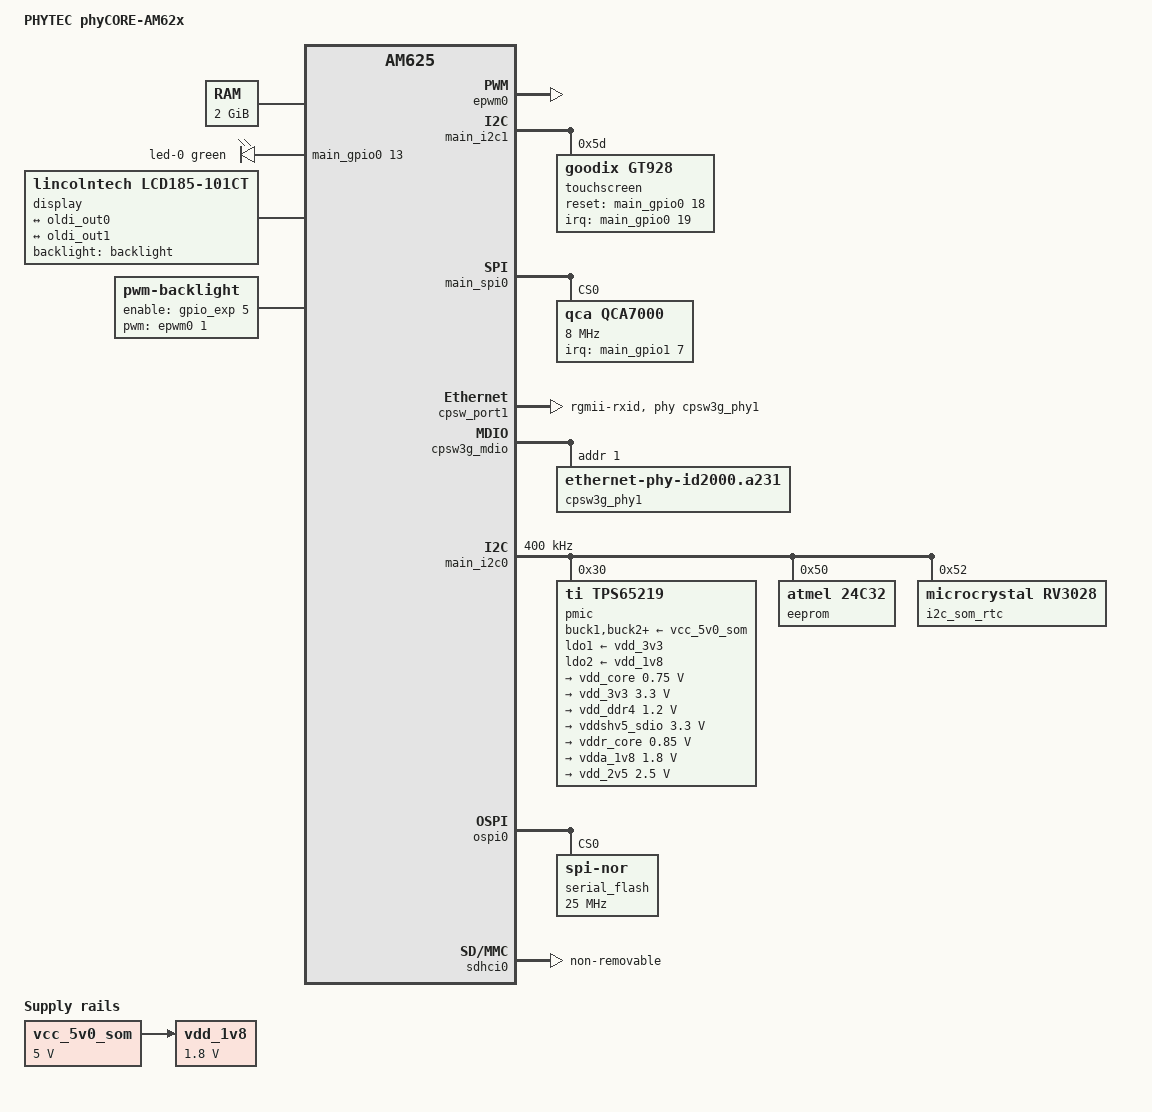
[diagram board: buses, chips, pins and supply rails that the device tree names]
// SPDX-License-Identifier: GPL-2.0
/*
 * Copyright (C) 2022 - 2023 PHYTEC Messtechnik GmbH
 * Author: Wadim Egorov <w.egorov@phytec.de>
 *
 * Product homepage:
 * https://www.phytec.com/product/phycore-am62x
 */

#include <dt-bindings/gpio/gpio.h>
#include <dt-bindings/leds/common.h>
#include <dt-bindings/net/ti-dp83867.h>

/ {
	model = "PHYTEC phyCORE-AM62x";
	compatible = "phytec,am62-phycore-som", "ti,am625";

	aliases {
		ethernet0 = &cpsw_port1;
		gpio0 = &main_gpio0;
		gpio1 = &main_gpio1;
		i2c0 = &main_i2c0;
		mmc0 = &sdhci0;
		rtc0 = &i2c_som_rtc;
		rtc1 = &wkup_rtc0;
		spi0 = &ospi0;
	};

	memory@80000000 {
		device_type = "memory";
		reg = <0x00000000 0x80000000 0x00000000 0x80000000>;
	};

	reserved_memory: reserved-memory {
		#address-cells = <2>;
		#size-cells = <2>;
		ranges;

		ramoops@9c700000 {
			compatible = "ramoops";
			reg = <0x00 0x9c700000 0x00 0x00100000>;
			record-size = <0x8000>;
			console-size = <0x8000>;
			ftrace-size = <0x00>;
			pmsg-size = <0x8000>;
		};

		/* global cma region */
		linux,cma {
			compatible = "shared-dma-pool";
			reusable;
			size = <0x00 0x8000000>;
			linux,cma-default;
		};

		rtos_ipc_memory_region: ipc-memories@9c800000 {
			compatible = "shared-dma-pool";
			reg = <0x00 0x9c800000 0x00 0x00300000>;
			no-map;
		};

		mcu_m4fss_dma_memory_region: m4f-dma-memory@9cb00000 {
			compatible = "shared-dma-pool";
			reg = <0x00 0x9cb00000 0x00 0x100000>;
			no-map;
		};

		mcu_m4fss_memory_region: m4f-memory@9cc00000 {
			compatible = "shared-dma-pool";
			reg = <0x00 0x9cc00000 0x00 0xe00000>;
			no-map;
		};

		wkup_r5fss0_core0_dma_memory_region: r5f-dma-memory@9da00000 {
			compatible = "shared-dma-pool";
			reg = <0x00 0x9da00000 0x00 0x00100000>;
			no-map;
		};

		wkup_r5fss0_core0_memory_region: r5f-memory@9db00000 {
			compatible = "shared-dma-pool";
			reg = <0x00 0x9db00000 0x00 0x00c00000>;
			no-map;
		};

		secure_tfa_ddr: tfa@9e780000 {
			reg = <0x00 0x9e780000 0x00 0x80000>;
			alignment = <0x1000>;
			no-map;
		};

		secure_ddr: optee@9e800000 {
			reg = <0x00 0x9e800000 0x00 0x01800000>; /* for OP-TEE */
			alignment = <0x1000>;
			no-map;
		};
	};

	vcc_5v0_som: regulator-vcc-5v0-som {
		compatible = "regulator-fixed";
		regulator-name = "VCC_5V0_SOM";
		regulator-min-microvolt = <5000000>;
		regulator-max-microvolt = <5000000>;
		regulator-always-on;
		regulator-boot-on;
	};

	vdd_1v8: regulator-vdd-1v8 {
		compatible = "regulator-fixed";
		regulator-name = "VDD_1V8";
		regulator-min-microvolt = <1800000>;
		regulator-max-microvolt = <1800000>;
		vin-supply = <&vcc_5v0_som>;
		regulator-always-on;
		regulator-boot-on;
	};

	leds {
		compatible = "gpio-leds";
		pinctrl-names = "default";
		pinctrl-0 = <&leds_pins_default>;

		led-0 {
			color = <LED_COLOR_ID_GREEN>;
			gpios = <&main_gpio0 13 GPIO_ACTIVE_HIGH>;
			linux,default-trigger = "heartbeat";
			function = LED_FUNCTION_HEARTBEAT;
		};
	};

	display {
		compatible = "lincolntech,lcd185-101ct";
		backlight = <&backlight>;

		port@0 {
			dual-lvds-odd-pixels;
			lcd_in0: endpoint {
				remote-endpoint = <&oldi_out0>;
			};
		};

		port@1 {
			dual-lvds-even-pixels;
			lcd_in1: endpoint {
				remote-endpoint = <&oldi_out1>;
			};
		};
	};

	backlight: backlight {
		pinctrl-names = "default";
		pinctrl-0 = <&bl_pwm_pins_default>;

		compatible = "pwm-backlight";

		brightness-levels = <0 4 8 16 32 64 128 255>;
		default-brightness-level = <6>;

		enable-gpios = <&gpio_exp 5 GPIO_ACTIVE_HIGH>;
		pwms = <&epwm0 1 50000 0>;
	};	
};

&main_pmx0 {

	bl_pwm_pins_default: bl-pwm-pins-default {
		pinctrl-single,pins = <
			AM62X_IOPAD(0x01b8, PIN_INPUT, 2) /* (C13) SPI0_CS1.EHRPWM0_B */
		>;
	};

	touch_screen_pins_default: touch-screen-pins-default {
		pinctrl-single,pins = <
			AM62X_IOPAD(0x048, PIN_OUTPUT, 7) /* (N25) GPMC0_AD3.GPIO0_18 - RST */
			AM62X_IOPAD(0x04c, PIN_INPUT, 7) /* (P24) GPMC0_AD4.GPIO0_19 - INT */
		>;
	};

	main_oldi0_pins_default: main-oldi0-pins-default {
		pinctrl-single,pins = <
			AM62X_IOPAD(0x0260, PIN_OUTPUT, 0) /* (AA5) OLDI0_A0N */
			AM62X_IOPAD(0x025c, PIN_OUTPUT, 0) /* (Y6) OLDI0_A0P */
			AM62X_IOPAD(0x0268, PIN_OUTPUT, 0) /* (AD3) OLDI0_A1N */
			AM62X_IOPAD(0x0264, PIN_OUTPUT, 0) /* (AB4) OLDI0_A1P */
			AM62X_IOPAD(0x0270, PIN_OUTPUT, 0) /* (Y8) OLDI0_A2N */
			AM62X_IOPAD(0x026c, PIN_OUTPUT, 0) /* (AA8) OLDI0_A2P */
			AM62X_IOPAD(0x0278, PIN_OUTPUT, 0) /* (AB6) OLDI0_A3N */
			AM62X_IOPAD(0x0274, PIN_OUTPUT, 0) /* (AA7) OLDI0_A3P */
			AM62X_IOPAD(0x0280, PIN_OUTPUT, 0) /* (AC6) OLDI0_A4N */
			AM62X_IOPAD(0x027c, PIN_OUTPUT, 0) /* (AC5) OLDI0_A4P */
			AM62X_IOPAD(0x0288, PIN_OUTPUT, 0) /* (AE5) OLDI0_A5N */
			AM62X_IOPAD(0x0284, PIN_OUTPUT, 0) /* (AD6) OLDI0_A5P */
			AM62X_IOPAD(0x0290, PIN_OUTPUT, 0) /* (AE6) OLDI0_A6N */
			AM62X_IOPAD(0x028c, PIN_OUTPUT, 0) /* (AD7) OLDI0_A6P */
			AM62X_IOPAD(0x0298, PIN_OUTPUT, 0) /* (AD8) OLDI0_A7N */
			AM62X_IOPAD(0x0294, PIN_OUTPUT, 0) /* (AE7) OLDI0_A7P */
			AM62X_IOPAD(0x02a0, PIN_OUTPUT, 0) /* (AD4) OLDI0_CLK0N */
			AM62X_IOPAD(0x029c, PIN_OUTPUT, 0) /* (AE3) OLDI0_CLK0P */
			AM62X_IOPAD(0x02a8, PIN_OUTPUT, 0) /* (AE4) OLDI0_CLK1N */
			AM62X_IOPAD(0x02a4, PIN_OUTPUT, 0) /* (AD5) OLDI0_CLK1P */
		>;
	};

	leds_pins_default: leds-pins-default {
		pinctrl-single,pins = <
			AM62X_IOPAD(0x034, PIN_OUTPUT, 7) /* (H21) OSPI0_CSN2.GPIO0_13 */
		>;
	};

	main_i2c0_pins_default: main-i2c0-pins-default {
		pinctrl-single,pins = <
			AM62X_IOPAD(0x1e0, PIN_INPUT_PULLUP, 0) /* (B16) I2C0_SCL */
			AM62X_IOPAD(0x1e4, PIN_INPUT_PULLUP, 0) /* (A16) I2C0_SDA */
		>;
	};

	main_mdio1_pins_default: main-mdio1-pins-default {
		pinctrl-single,pins = <
			AM62X_IOPAD(0x160, PIN_OUTPUT, 0) /* (AD24) MDIO0_MDC */
			AM62X_IOPAD(0x15c, PIN_INPUT, 0) /* (AB22) MDIO0_MDIO */
		>;
	};

	main_mmc0_pins_default: main-mmc0-pins-default {
		pinctrl-single,pins = <
			AM62X_IOPAD(0x220, PIN_INPUT_PULLUP, 0) /* (Y3) MMC0_CMD */
			AM62X_IOPAD(0x218, PIN_INPUT_PULLDOWN, 0) /* (AB1) MMC0_CLK */
			AM62X_IOPAD(0x214, PIN_INPUT_PULLUP, 0) /* (AA2) MMC0_DAT0 */
			AM62X_IOPAD(0x210, PIN_INPUT_PULLUP, 0) /* (AA1) MMC0_DAT1 */
			AM62X_IOPAD(0x20c, PIN_INPUT_PULLUP, 0) /* (AA3) MMC0_DAT2 */
			AM62X_IOPAD(0x208, PIN_INPUT_PULLUP, 0) /* (Y4) MMC0_DAT3 */
			AM62X_IOPAD(0x204, PIN_INPUT_PULLUP, 0) /* (AB2) MMC0_DAT4 */
			AM62X_IOPAD(0x200, PIN_INPUT_PULLUP, 0) /* (AC1) MMC0_DAT5 */
			AM62X_IOPAD(0x1fc, PIN_INPUT_PULLUP, 0) /* (AD2) MMC0_DAT6 */
			AM62X_IOPAD(0x1f8, PIN_INPUT_PULLUP, 0) /* (AC2) MMC0_DAT7 */
		>;
	};

	main_rgmii1_pins_default: main-rgmii1-pins-default {
		pinctrl-single,pins = <
			AM62X_IOPAD(0x14c, PIN_INPUT, 0) /* (AB17) RGMII1_RD0 */
			AM62X_IOPAD(0x150, PIN_INPUT, 0) /* (AC17) RGMII1_RD1 */
			AM62X_IOPAD(0x154, PIN_INPUT, 0) /* (AB16) RGMII1_RD2 */
			AM62X_IOPAD(0x158, PIN_INPUT, 0) /* (AA15) RGMII1_RD3 */
			AM62X_IOPAD(0x148, PIN_INPUT, 0) /* (AD17) RGMII1_RXC */
			AM62X_IOPAD(0x144, PIN_INPUT, 0) /* (AE17) RGMII1_RX_CTL */
			AM62X_IOPAD(0x134, PIN_OUTPUT, 0) /* (AE20) RGMII1_TD0 */
			AM62X_IOPAD(0x138, PIN_OUTPUT, 0) /* (AD20) RGMII1_TD1 */
			AM62X_IOPAD(0x13c, PIN_OUTPUT, 0) /* (AE18) RGMII1_TD2 */
			AM62X_IOPAD(0x140, PIN_OUTPUT, 0) /* (AD18) RGMII1_TD3 */
			AM62X_IOPAD(0x130, PIN_OUTPUT, 0) /* (AE19) RGMII1_TXC */
			AM62X_IOPAD(0x12c, PIN_OUTPUT, 0) /* (AD19) RGMII1_TX_CTL */
		>;
	};

	ospi0_pins_default: ospi0-pins-default {
		pinctrl-single,pins = <
			AM62X_IOPAD(0x000, PIN_OUTPUT, 0) /* (H24) OSPI0_CLK */
			AM62X_IOPAD(0x02c, PIN_OUTPUT, 0) /* (F23) OSPI0_CSn0 */
			AM62X_IOPAD(0x038, PIN_OUTPUT, 0) /* (E24) OSPI0_CSn3 */
			AM62X_IOPAD(0x00c, PIN_INPUT, 0) /* (E25) OSPI0_D0 */
			AM62X_IOPAD(0x010, PIN_INPUT, 0) /* (G24) OSPI0_D1 */
			AM62X_IOPAD(0x014, PIN_INPUT, 0) /* (F25) OSPI0_D2 */
			AM62X_IOPAD(0x018, PIN_INPUT, 0) /* (F24) OSPI0_D3 */
			AM62X_IOPAD(0x01c, PIN_INPUT, 0) /* (J23) OSPI0_D4 */
			AM62X_IOPAD(0x020, PIN_INPUT, 0) /* (J25) OSPI0_D5 */
			AM62X_IOPAD(0x024, PIN_INPUT, 0) /* (H25) OSPI0_D6 */
			AM62X_IOPAD(0x028, PIN_INPUT, 0) /* (J22) OSPI0_D7 */
			AM62X_IOPAD(0x008, PIN_INPUT, 0) /* (J24) OSPI0_DQS */
		>;
	};

	main_spi0_pins_default: main_spi0_pins_default {
		pinctrl-single,pins = <
			AM62X_IOPAD(0x1BC, PIN_INPUT, 0) /* (A14) SPI0_CLK */
			AM62X_IOPAD(0x1B4, PIN_OUTPUT, 0) /* (A13) SPI0_CS0 */
			AM62X_IOPAD(0x1C0, PIN_OUTPUT, 0) /* (B13) SPI0_D0 */
			AM62X_IOPAD(0x1C4, PIN_INPUT, 0)  /* (B14) SPI0_D1 */
			AM62X_IOPAD(0x194, PIN_INPUT, 7)  /* (B19) MCASP0_AXR3 */
		>;
	};

	pmic_irq_pins_default: pmic-irq-pins-default {
		pinctrl-single,pins = <
			AM62X_IOPAD(0x01f4, PIN_INPUT, 0) /* (D16) EXTINTn */
		>;
	};
};

&epwm0 {
	status = "okay";
};

&dss {
	pinctrl-names = "default";
	pinctrl-0 = <&main_oldi0_pins_default &main_dss0_pins_default>;
};

&dss_ports {
	#address-cells = <1>;
	#size-cells = <0>;

	/* VP1: LVDS Output */
	port@0 {
		reg = <0>;

		oldi_out0: endpoint {
			remote-endpoint = <&lcd_in0>;
		};
	};

	/* VP1: LVDS Output */
	port@2 {
		reg = <2>;

		oldi_out1: endpoint {
			remote-endpoint = <&lcd_in1>;
		};
	};
};

&main_i2c1 {
	#address-cells = <1>;
	#size-cells = <0>;

	touchscreen@5d {
		compatible = "goodix,gt928";
		reg = <0x5d>;

		pinctrl-names = "default";
		pinctrl-0 = <&touch_screen_pins_default>;

		interrupt-parent = <&main_gpio0>;
		interrupts = <19 IRQ_TYPE_LEVEL_LOW>;

		reset-gpios = <&main_gpio0 18 GPIO_ACTIVE_HIGH>;
		irq-gpios = <&main_gpio0 19 GPIO_ACTIVE_HIGH>;
	};
};

&mcu_pmx0 {
	wkup_uart0_pins_default: wkup-uart0-pins-default {
		pinctrl-single,pins = <
			AM62X_MCU_IOPAD(0x02c, PIN_INPUT, 0) /* (C6) WKUP_UART0_CTSn */
			AM62X_MCU_IOPAD(0x030, PIN_OUTPUT, 0) /* (A4) WKUP_UART0_RTSn */
			AM62X_MCU_IOPAD(0x024, PIN_INPUT, 0) /* (B4) WKUP_UART0_RXD */
			AM62X_MCU_IOPAD(0x028, PIN_OUTPUT, 0) /* (C5) WKUP_UART0_TXD */
		>;
	};
};

&mcu_spi0 {
	status = "disabled";
};


&main_spi0 {
	#address-cells = <1>;
	#size-cells = <0>;
	status = "okay";
	pinctrl-names = "default";
	pinctrl-0 = <&main_spi0_pins_default>;
	ti,pindir-d0-out-d1-in = <1>;

	qca7000: ethernet@1 {
		compatible = "qca,qca7000";
		reg = <0x0>; // chip select wired to CS0
		// interrupt should be GPIO1_7 (MCASP0_AXR3)
		interrupt-parent = <&main_gpio1>;
		interrupts = <7 0x1>; // index 7, rising edge
		spi-cpha;
		spi-cpol;
		spi-max-frequency = <8000000>;
		local-mac-address = [ A0 B0 C0 D0 E0 F0 ];
	};
};


&cpsw3g {
	pinctrl-names = "default";
	pinctrl-0 = <&main_rgmii1_pins_default>;
};

&cpsw_port1 {
	phy-mode = "rgmii-rxid";
	phy-handle = <&cpsw3g_phy1>;
};

&cpsw3g_mdio {
	pinctrl-names = "default";
	pinctrl-0 = <&main_mdio1_pins_default>;
	status = "okay";

	cpsw3g_phy1: ethernet-phy@1 {
		compatible = "ethernet-phy-id2000.a231", "ethernet-phy-ieee802.3-c22";
		reg = <1>;
		ti,clk-output-sel = <DP83867_CLK_O_SEL_OFF>;
		ti,rx-internal-delay = <DP83867_RGMIIDCTL_2_00_NS>;
		ti,fifo-depth = <DP83867_PHYCR_FIFO_DEPTH_4_B_NIB>;
	};
};

&mailbox0_cluster0 {
	mbox_m4_0: mbox-m4-0 {
		ti,mbox-rx = <0 0 0>;
		ti,mbox-tx = <1 0 0>;
	};
};

&main_i2c0 {
	pinctrl-names = "default";
	pinctrl-0 = <&main_i2c0_pins_default>;
	clock-frequency = <400000>;
	status = "okay";

	pmic@30 {
		compatible = "ti,tps65219";
		reg = <0x30>;
		buck1-supply = <&vcc_5v0_som>;
		buck2-supply = <&vcc_5v0_som>;
		buck3-supply = <&vcc_5v0_som>;
		ldo1-supply = <&vdd_3v3>;
		ldo2-supply = <&vdd_1v8>;
		ldo3-supply = <&vcc_5v0_som>;
		ldo4-supply = <&vcc_5v0_som>;

		pinctrl-names = "default";
		pinctrl-0 = <&pmic_irq_pins_default>;
		interrupt-parent = <&gic500>;
		interrupts = <GIC_SPI 224 IRQ_TYPE_LEVEL_HIGH>;
		interrupt-controller;
		#interrupt-cells = <1>;
		ti,power-button;
		system-power-controller;

		regulators {
			vdd_core: buck1 {
				regulator-name = "VDD_CORE";
				regulator-min-microvolt = <750000>;
				regulator-max-microvolt = <750000>;
				regulator-boot-on;
				regulator-always-on;
			};

			vdd_3v3: buck2 {
				regulator-name = "VDD_3V3";
				regulator-min-microvolt = <3300000>;
				regulator-max-microvolt = <3300000>;
				regulator-boot-on;
				regulator-always-on;
			};

			vdd_ddr4: buck3 {
				regulator-name = "VDD_DDR4";
				regulator-min-microvolt = <1200000>;
				regulator-max-microvolt = <1200000>;
				regulator-boot-on;
				regulator-always-on;
			};

			vddshv5_sdio: ldo1 {
				regulator-name = "VDDSHV5_SDIO";
				regulator-min-microvolt = <3300000>;
				regulator-max-microvolt = <3300000>;
				regulator-allow-bypass;
				regulator-boot-on;
				regulator-always-on;
			};

			vddr_core: ldo2 {
				regulator-name = "VDDR_CORE";
				regulator-min-microvolt = <850000>;
				regulator-max-microvolt = <850000>;
				regulator-boot-on;
				regulator-always-on;
			};

			vdda_1v8: ldo3 {
				regulator-name = "VDDA_1V8";
				regulator-min-microvolt = <1800000>;
				regulator-max-microvolt = <1800000>;
				regulator-boot-on;
				regulator-always-on;
			};

			vdd_2v5: ldo4 {
				regulator-name = "VDD_2V5";
				regulator-min-microvolt = <2500000>;
				regulator-max-microvolt = <2500000>;
				regulator-boot-on;
				regulator-always-on;
			};
		};
	};

	eeprom@50 {
		compatible = "atmel,24c32";
		pagesize = <32>;
		reg = <0x50>;
	};

	i2c_som_rtc: rtc@52 {
		compatible = "microcrystal,rv3028";
		reg = <0x52>;
	};
};

&ospi0 {
	pinctrl-names = "default";
	pinctrl-0 = <&ospi0_pins_default>;
	status = "okay";

	serial_flash: flash@0 {
		compatible = "jedec,spi-nor";
		reg = <0x0>;
		spi-tx-bus-width = <8>;
		spi-rx-bus-width = <8>;
		spi-max-frequency = <25000000>;
		cdns,tshsl-ns = <60>;
		cdns,tsd2d-ns = <60>;
		cdns,tchsh-ns = <60>;
		cdns,tslch-ns = <60>;
		cdns,read-delay = <0>;
	};
};

&sdhci0 {
	pinctrl-names = "default";
	pinctrl-0 = <&main_mmc0_pins_default>;
	ti,driver-strength-ohm = <50>;
	disable-wp;
	non-removable;
	status = "okay";
};

&mcu_gpio0 {
	status = "disable";
};

&mcu_m4fss {
	mboxes = <&mailbox0_cluster0 &mbox_m4_0>;
	memory-region = <&mcu_m4fss_dma_memory_region>,
			<&mcu_m4fss_memory_region>;
};

&wkup_r5fss0 {
	/* Runs dedicated Device Management firmware */
	status = "reserved";
};
